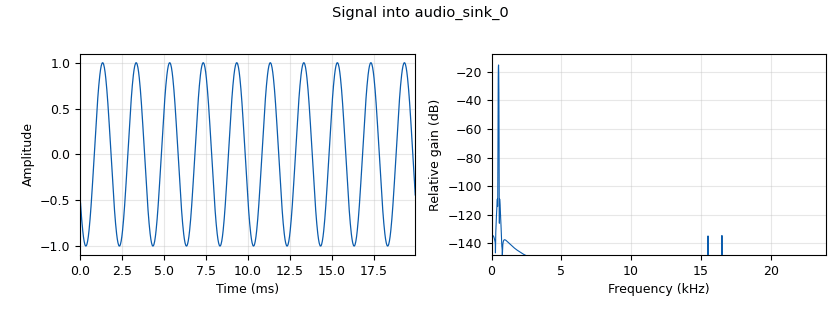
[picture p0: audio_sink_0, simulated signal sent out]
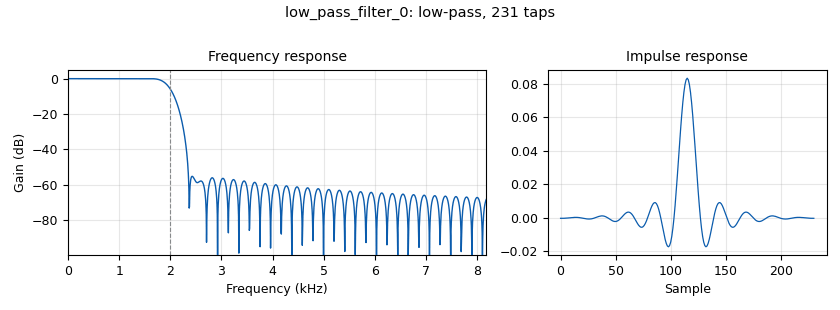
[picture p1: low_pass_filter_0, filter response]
options:
  parameters:
    author: adrian
    generate_options: qt_gui
    id: IID
    output_language: python
    title: IID
  states: {}

blocks:
- name: A
  id: variable_qtgui_range
  parameters:
    start: '0'
    step: '.01'
    stop: '10'
    value: '1'
  states: {}
- name: avg_window
  id: variable
  parameters:
    value: int(samp_rate/32)
  states: {}
- name: f
  id: variable_qtgui_range
  parameters:
    label: f
    start: '100'
    step: '10'
    stop: '5000'
    value: '500'
  states: {}
- name: samp_rate
  id: variable
  parameters:
    value: int(48000)
  states: {}
- name: analog_sig_source_x_0
  id: analog_sig_source_x
  parameters:
    amp: '1'
    freq: f
    offset: '0'
    phase: '0'
    samp_rate: samp_rate
    type: float
    waveform: analog.GR_COS_WAVE
  states: {}
- name: audio_sink_0
  id: audio_sink
  parameters:
    samp_rate: samp_rate
  states: {}
- name: audio_source_0
  id: audio_source
  parameters:
    num_outputs: '2'
    samp_rate: samp_rate
  states: {}
- name: blocks_abs_xx_0
  id: blocks_abs_xx
  parameters:
    type: float
  states: {}
- name: blocks_abs_xx_0_0
  id: blocks_abs_xx
  parameters:
    type: float
  states: {}
- name: blocks_file_sink_0
  id: blocks_file_sink
  parameters:
    file: /dev/ttyACM0
    type: complex
  states: {state: disabled}
- name: blocks_integrate_xx_0
  id: blocks_integrate_xx
  parameters:
    decim: avg_window
    type: float
  states: {state: disabled}
- name: blocks_integrate_xx_0_0
  id: blocks_integrate_xx
  parameters:
    decim: avg_window
    type: float
  states: {state: disabled}
- name: blocks_moving_average_xx_0
  id: blocks_moving_average_xx
  parameters:
    length: avg_window
    max_iter: '4000'
    scale: 1/avg_window
    type: float
  states: {}
- name: blocks_moving_average_xx_0_1
  id: blocks_moving_average_xx
  parameters:
    length: avg_window
    max_iter: '4000'
    scale: 1/avg_window
    type: float
  states: {}
- name: blocks_multiply_const_xx_0
  id: blocks_multiply_const_xx
  parameters:
    const: A
    type: float
  states: {}
- name: epy_block_0
  id: epy_block
  parameters:
    _source_code: "import numpy as np\nfrom gnuradio import gr\n\nclass avg_two_floats(gr.sync_block):  # Define the block as a subclass of gr.sync_block\n    def __init__(self):\n        gr.sync_block.__init__(self,\n            name=\"IID\",   # Block name\n            in_sig=[np.float32, np.float32],  # Define two float input ports\n            out_sig=[np.float32])    # Define one float output port\n\n    def work(self, input_items, output_items):\n        # input_items[0] and input_items[1] are the two input streams\n        # output_items[0] is the output stream\n\n        # Calculate the sample-wise average of the two input streams\n        output_items[0][:] = (input_items[0] - input_items[1]) \n        return len(output_items[0])  # Return the number of output samples\n\n"
  states: {}
- name: low_pass_filter_0
  id: low_pass_filter
  parameters:
    cutoff_freq: '2000'
    decim: '1'
    gain: '1'
    samp_rate: samp_rate
    type: fir_filter_fff
    width: '500'
    win: window.WIN_HAMMING
  states: {}
- name: low_pass_filter_0_0
  id: low_pass_filter
  parameters:
    cutoff_freq: '2000'
    decim: '1'
    gain: '1'
    samp_rate: samp_rate
    type: fir_filter_fff
    width: '500'
    win: window.WIN_HAMMING
  states: {}
- name: qtgui_time_sink_x_0
  id: qtgui_time_sink_x
  parameters:
    label1: L
    label2: R
    label3: LR
    nconnections: '3'
    size: '1028'
    srate: samp_rate
    type: float
  states: {}

connections:
- [analog_sig_source_x_0, '0', audio_sink_0, '0']
- [audio_source_0, '0', low_pass_filter_0, '0']
- [audio_source_0, '1', blocks_multiply_const_xx_0, '0']
- [blocks_abs_xx_0, '0', blocks_integrate_xx_0, '0']
- [blocks_abs_xx_0, '0', blocks_moving_average_xx_0, '0']
- [blocks_abs_xx_0_0, '0', blocks_integrate_xx_0_0, '0']
- [blocks_abs_xx_0_0, '0', blocks_moving_average_xx_0_1, '0']
- [blocks_integrate_xx_0, '0', qtgui_time_sink_x_0, '0']
- [blocks_integrate_xx_0_0, '0', qtgui_time_sink_x_0, '1']
- [blocks_moving_average_xx_0, '0', epy_block_0, '0']
- [blocks_moving_average_xx_0, '0', qtgui_time_sink_x_0, '0']
- [blocks_moving_average_xx_0_1, '0', epy_block_0, '1']
- [blocks_moving_average_xx_0_1, '0', qtgui_time_sink_x_0, '1']
- [blocks_multiply_const_xx_0, '0', low_pass_filter_0_0, '0']
- [epy_block_0, '0', qtgui_time_sink_x_0, '2']
- [low_pass_filter_0, '0', blocks_abs_xx_0, '0']
- [low_pass_filter_0_0, '0', blocks_abs_xx_0_0, '0']

metadata:
  file_format: 1
